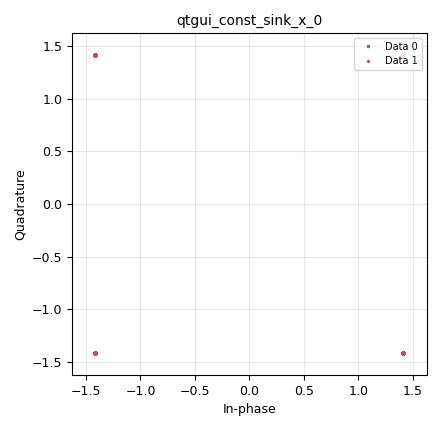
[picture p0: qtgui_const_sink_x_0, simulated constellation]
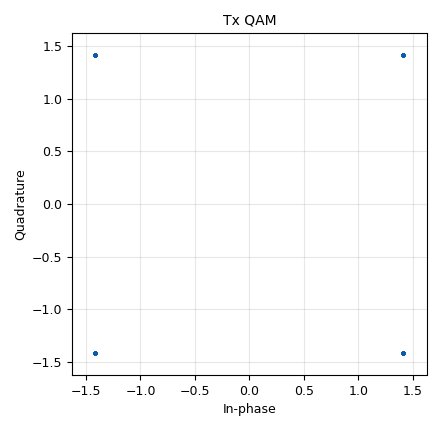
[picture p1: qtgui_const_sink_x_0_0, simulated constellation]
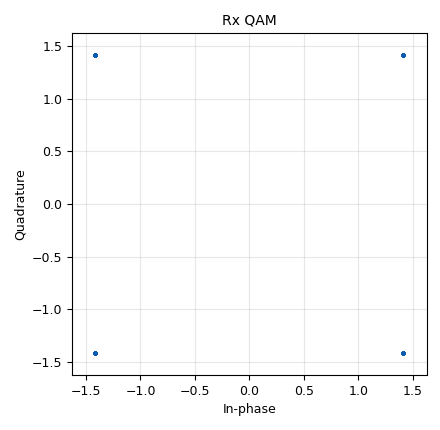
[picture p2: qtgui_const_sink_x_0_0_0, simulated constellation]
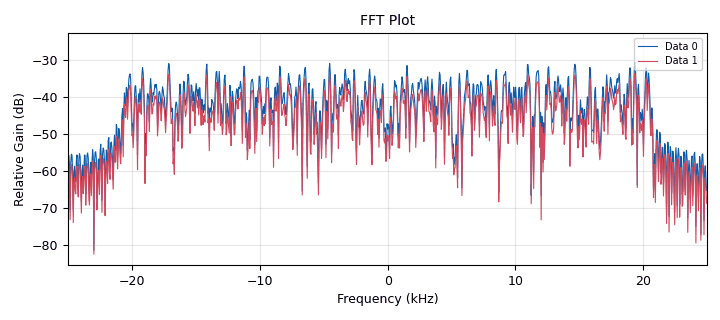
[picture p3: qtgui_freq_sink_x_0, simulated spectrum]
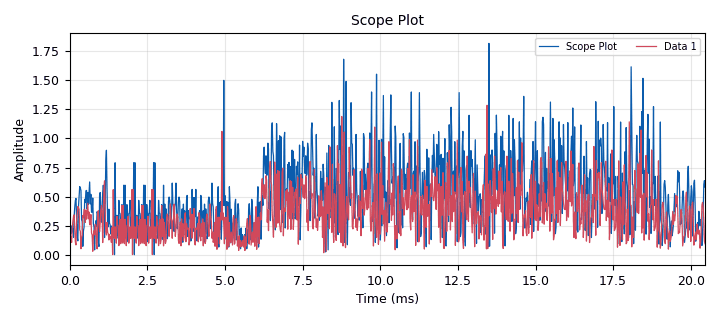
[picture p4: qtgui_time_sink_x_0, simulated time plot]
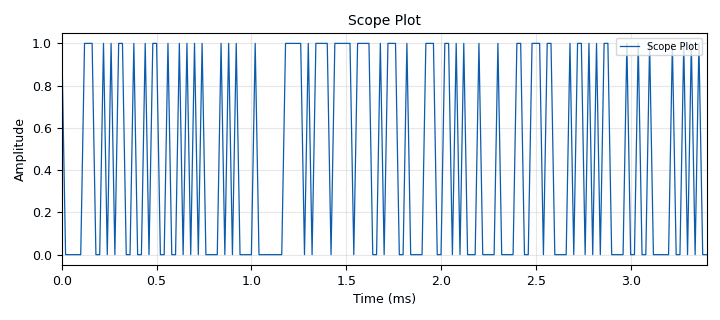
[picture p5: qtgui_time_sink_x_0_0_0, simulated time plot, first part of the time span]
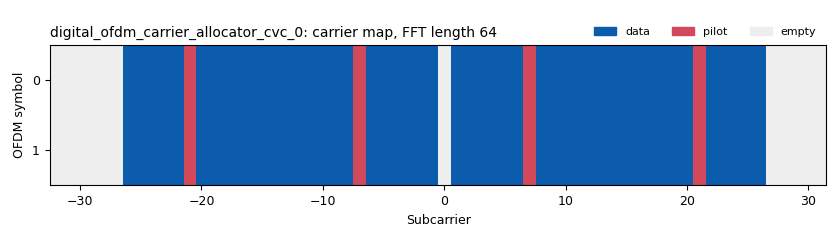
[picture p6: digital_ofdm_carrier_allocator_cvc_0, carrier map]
options:
  parameters:
    category: Custom
    description: Example of an OFDM Transmitter
    generate_options: qt_gui
    id: tx_ofdm
    output_language: python
    run_options: run
    title: OFDM Tx
  states: {}

blocks:
- name: fft_len
  id: variable
  parameters:
    value: '64'
  states: {}
- name: header_equalizer
  id: variable
  parameters:
    value: digital.ofdm_equalizer_simpledfe(fft_len, header_mod.base(), occupied_carriers, pilot_carriers, pilot_symbols)
  states: {}
- name: header_formatter
  id: variable
  parameters:
    value: digital.packet_header_ofdm(occupied_carriers, n_syms=1, len_tag_key=length_tag_key, frame_len_tag_key=length_tag_key, bits_per_header_sym=header_mod.bits_per_symbol(), bits_per_payload_sym=payload_mod.bits_per_symbol(), scramble_header=False)
  states: {}
- name: header_mod
  id: variable
  parameters:
    value: digital.constellation_bpsk()
  states: {}
- name: length_tag_key
  id: variable
  parameters:
    value: '"packet_len"'
  states: {}
- name: occupied_carriers
  id: variable
  parameters:
    value: (list(range(-26, -21)) + list(range(-20, -7)) + list(range(-6, 0)) + list(range(1, 7)) + list(range(8, 21)) + list(range(22, 27)),)
  states: {}
- name: packet_len
  id: variable
  parameters:
    value: '96'
  states: {}
- name: payload_equalizer
  id: variable
  parameters:
    value: digital.ofdm_equalizer_simpledfe(fft_len, payload_mod.base(), occupied_carriers, pilot_carriers, pilot_symbols, 1)
  states: {}
- name: payload_mod
  id: variable
  parameters:
    value: digital.constellation_qpsk()
  states: {}
- name: pilot_carriers
  id: variable
  parameters:
    value: ((-21, -7, 7, 21,),)
  states: {}
- name: pilot_symbols
  id: variable
  parameters:
    value: ((1, 1, 1, -1,),)
  states: {}
- name: rolloff
  id: variable
  parameters:
    value: '0'
  states: {}
- name: samp_rate
  id: variable
  parameters:
    value: '50000'
  states: {}
- name: sync_word1
  id: variable
  parameters:
    value: '[0., 0., 0., 0., 0., 0., 0., 1.41421356, 0., -1.41421356, 0., 1.41421356, 0., -1.41421356, 0., -1.41421356, 0., -1.41421356, 0., 1.41421356, 0., -1.41421356, 0., 1.41421356, 0., -1.41421356, 0., -1.41421356, 0., -1.41421356, 0., -1.41421356, 0., 1.41421356, 0., -1.41421356, 0., 1.41421356, 0., 1.41421356, 0., 1.41421356, 0., -1.41421356, 0., 1.41421356, 0., 1.41421356, 0., 1.41421356, 0., -1.41421356, 0., 1.41421356, 0., 1.41421356, 0., 1.41421356, 0., 0., 0., 0., 0., 0.]'
  states: {}
- name: sync_word2
  id: variable
  parameters:
    value: '[0, 0, 0, 0, 0, 0, -1, -1, -1, -1, 1, 1, -1, -1, -1, 1, -1, 1, 1, 1, 1, 1, -1, -1, -1, -1, -1, 1, -1, -1, 1, -1, 0, 1, -1, 1, 1, 1, -1, 1, 1, 1, -1, 1, 1, 1, 1, -1, 1, -1, -1, -1, 1, -1, 1, -1, -1, -1, -1, 0, 0, 0, 0, 0] '
  states: {}
- name: analog_frequency_modulator_fc_0
  id: analog_frequency_modulator_fc
  parameters:
    sensitivity: '-2.0/fft_len'
  states: {}
- name: analog_random_source_x_0
  id: analog_random_source_x
  parameters:
    max: '256'
    min: '0'
    num_samps: '1000'
    repeat: 'False'
    type: byte
  states: {}
- name: blocks_char_to_float_0
  id: blocks_char_to_float
  parameters:
    scale: '1'
  states: {}
- name: blocks_char_to_float_0_0
  id: blocks_char_to_float
  parameters:
    scale: '1'
  states: {}
- name: blocks_char_to_float_0_0_0
  id: blocks_char_to_float
  parameters:
    scale: '1'
  states: {state: disabled}
- name: blocks_complex_to_mag_0
  id: blocks_complex_to_mag
  parameters: {}
  states: {}
- name: blocks_complex_to_mag_0_0
  id: blocks_complex_to_mag
  parameters: {}
  states: {}
- name: blocks_delay_0
  id: blocks_delay
  parameters:
    delay: fft_len+fft_len//4
    type: complex
  states: {}
- name: blocks_delay_1
  id: blocks_delay
  parameters:
    delay: '25'
    type: float
  states: {state: disabled}
- name: blocks_multiply_const_vxx_0
  id: blocks_multiply_const_vxx
  parameters:
    const: '0.05'
    type: complex
  states: {}
- name: blocks_multiply_const_vxx_0_0
  id: blocks_multiply_const_vxx
  parameters:
    const: '0.5'
    type: complex
  states: {}
- name: blocks_multiply_xx_0
  id: blocks_multiply_xx
  parameters:
    type: complex
  states: {}
- name: blocks_repack_bits_bb_0
  id: blocks_repack_bits_bb
  parameters:
    endianness: gr.GR_LSB_FIRST
    k: '8'
    l: payload_mod.bits_per_symbol()
    len_tag_key: length_tag_key
  states: {}
- name: blocks_repack_bits_bb_0_0
  id: blocks_repack_bits_bb
  parameters:
    align_output: 'True'
    endianness: gr.GR_LSB_FIRST
    k: payload_mod.bits_per_symbol()
    l: '8'
    len_tag_key: packet_length_tag_key
  states: {}
- name: blocks_stream_to_tagged_stream_0
  id: blocks_stream_to_tagged_stream
  parameters:
    len_tag_key: length_tag_key
    packet_len: packet_len
    type: byte
  states: {}
- name: blocks_tag_debug_1
  id: blocks_tag_debug
  parameters:
    name: Rx Bytes
    type: byte
  states: {}
- name: blocks_tag_gate_0
  id: blocks_tag_gate
  parameters:
    propagate_tags: 'False'
    type: complex
  states: {}
- name: blocks_tagged_stream_mux_0
  id: blocks_tagged_stream_mux
  parameters:
    lengthtagname: length_tag_key
    ninputs: '2'
    type: complex
  states: {}
- name: blocks_throttle_0
  id: blocks_throttle
  parameters:
    samples_per_second: samp_rate
    type: complex
  states: {}
- name: blocks_throttle_0_0
  id: blocks_throttle
  parameters:
    samples_per_second: samp_rate
    type: complex
  states: {}
- name: blocks_throttle_0_1
  id: blocks_throttle
  parameters:
    samples_per_second: samp_rate
    type: complex
  states: {}
- name: blocks_unpack_k_bits_bb_0
  id: blocks_unpack_k_bits_bb
  parameters:
    k: '8'
  states: {}
- name: blocks_unpack_k_bits_bb_0_0
  id: blocks_unpack_k_bits_bb
  parameters:
    k: '8'
  states: {}
- name: blocks_unpack_k_bits_bb_0_1
  id: blocks_unpack_k_bits_bb
  parameters:
    k: '8'
  states: {state: disabled}
- name: channels_channel_model_0
  id: channels_channel_model
  parameters:
    block_tags: 'True'
    epsilon: '1.0'
    freq_offset: '0.0'
    noise_voltage: '0.0'
    seed: '0'
    taps: 1.0 + 1.0j
  states: {}
- name: digital_chunks_to_symbols_xx_0
  id: digital_chunks_to_symbols_xx
  parameters:
    dimension: '1'
    in_type: byte
    out_type: complex
    symbol_table: header_mod.points()
  states: {}
- name: digital_chunks_to_symbols_xx_0_0
  id: digital_chunks_to_symbols_xx
  parameters:
    dimension: '1'
    in_type: byte
    out_type: complex
    symbol_table: payload_mod.points()
  states: {}
- name: digital_constellation_decoder_cb_0
  id: digital_constellation_decoder_cb
  parameters:
    constellation: header_mod.base()
  states: {}
- name: digital_constellation_decoder_cb_1
  id: digital_constellation_decoder_cb
  parameters:
    constellation: payload_mod.base()
  states: {}
- name: digital_crc32_bb_0
  id: digital_crc32_bb
  parameters:
    check: 'False'
    lengthtagname: length_tag_key
    packed: 'True'
  states: {}
- name: digital_crc32_bb_0_0
  id: digital_crc32_bb
  parameters:
    check: 'True'
    lengthtagname: packet_length_tag_key
    packed: 'True'
  states: {}
- name: digital_header_payload_demux_0
  id: digital_header_payload_demux
  parameters:
    guard_interval: fft_len//4
    header_len: '3'
    header_padding: '0'
    items_per_symbol: fft_len
    length_tag_key: length_tag_key
    output_symbols: 'True'
    samp_rate: samp_rate
    special_tags: ()
    timing_tag_key: '"rx_time"'
    type: complex
  states: {}
- name: digital_ofdm_carrier_allocator_cvc_0
  id: digital_ofdm_carrier_allocator_cvc
  parameters:
    fft_len: fft_len
    len_tag_key: length_tag_key
    occupied_carriers: occupied_carriers
    output_is_shifted: 'True'
    pilot_carriers: pilot_carriers
    pilot_symbols: pilot_symbols
    sync_words: (sync_word1, sync_word2)
  states: {}
- name: digital_ofdm_chanest_vcvc_0
  id: digital_ofdm_chanest_vcvc
  parameters:
    force_one_symbol: 'False'
    max_carr_offset: '3'
    n_data_symbols: '1'
    sync_symbol1: sync_word1
    sync_symbol2: sync_word2
  states: {}
- name: digital_ofdm_cyclic_prefixer_0
  id: digital_ofdm_cyclic_prefixer
  parameters:
    cp_len: fft_len//4
    input_size: fft_len
    rolloff: rolloff
    tagname: length_tag_key
  states: {}
- name: digital_ofdm_frame_equalizer_vcvc_0
  id: digital_ofdm_frame_equalizer_vcvc
  parameters:
    cp_len: fft_len//4
    equalizer: header_equalizer.base()
    fft_len: fft_len
    fixed_frame_len: '1'
    len_tag_key: length_tag_key
    propagate_channel_state: 'True'
  states: {}
- name: digital_ofdm_frame_equalizer_vcvc_1
  id: digital_ofdm_frame_equalizer_vcvc
  parameters:
    cp_len: fft_len//4
    equalizer: payload_equalizer.base()
    fft_len: fft_len
    len_tag_key: length_tag_key
    propagate_channel_state: 'True'
  states: {}
- name: digital_ofdm_serializer_vcc_header
  id: digital_ofdm_serializer_vcc
  parameters:
    carr_offset_key: ''
    fft_len: fft_len
    len_tag_key: length_tag_key
    occupied_carriers: occupied_carriers
    packet_len_tag_key: ''
  states: {}
- name: digital_ofdm_serializer_vcc_payload
  id: digital_ofdm_serializer_vcc
  parameters:
    carr_offset_key: ''
    fft_len: fft_len
    len_tag_key: length_tag_key
    occupied_carriers: occupied_carriers
    packet_len_tag_key: packet_length_tag_key
    symbols_skipped: '1'
  states: {}
- name: digital_ofdm_sync_sc_cfb_0
  id: digital_ofdm_sync_sc_cfb
  parameters:
    cp_len: fft_len//4
    fft_len: fft_len
    threshold: '0.9'
  states: {}
- name: digital_packet_headergenerator_bb_0
  id: digital_packet_headergenerator_bb
  parameters:
    header_formatter: header_formatter.base()
    len_tag_key: length_tag_key
  states: {}
- name: digital_packet_headerparser_b_0
  id: digital_packet_headerparser_b
  parameters:
    header_formatter: header_formatter.base()
  states: {}
- name: fec_ber_bf_0
  id: fec_ber_bf
  parameters:
    test_mode: 'False'
  states: {state: disabled}
- name: fft_vxx_0
  id: fft_vxx
  parameters:
    fft_size: fft_len
    forward: 'False'
    shift: 'True'
    type: complex
    window: ()
  states: {}
- name: fft_vxx_0_0
  id: fft_vxx
  parameters:
    fft_size: fft_len
    forward: 'True'
    shift: 'True'
    type: complex
    window: ()
  states: {}
- name: fft_vxx_1
  id: fft_vxx
  parameters:
    fft_size: fft_len
    forward: 'True'
    shift: 'True'
    type: complex
    window: ()
  states: {}
- name: header_bits
  id: virtual_sink
  parameters:
    stream_id: Header Bits
  states: {}
- name: qtgui_const_sink_x_0
  id: qtgui_const_sink_x
  parameters:
    autoscale: 'True'
    color1: '"red"'
    color2: '"blue"'
    marker2: '3'
    nconnections: '2'
    size: '1024'
    type: complex
  states: {}
- name: qtgui_const_sink_x_0_0
  id: qtgui_const_sink_x
  parameters:
    autoscale: 'True'
    color1: '"green"'
    name: '"Tx QAM"'
    size: '1024'
    type: complex
  states: {}
- name: qtgui_const_sink_x_0_0_0
  id: qtgui_const_sink_x
  parameters:
    autoscale: 'True'
    color1: '"magenta"'
    name: '"Rx QAM"'
    size: '1024'
    type: complex
  states: {}
- name: qtgui_freq_sink_x_0
  id: qtgui_freq_sink_x
  parameters:
    autoscale: 'True'
    bw: samp_rate
    fc: '0'
    fftsize: '1024'
    label2: ''
    name: FFT Plot
    nconnections: '2'
    showports: 'True'
    type: complex
  states: {}
- name: qtgui_time_sink_x_0
  id: qtgui_time_sink_x
  parameters:
    autoscale: 'True'
    label1: Scope Plot
    label2: ''
    name: Scope Plot
    nconnections: '2'
    size: '1024'
    srate: samp_rate
    type: float
  states: {}
- name: qtgui_time_sink_x_0_0
  id: qtgui_time_sink_x
  parameters:
    autoscale: 'True'
    label1: Scope Plot
    name: Scope Plot
    size: '1024'
    srate: samp_rate
    type: float
  states: {state: disabled}
- name: qtgui_time_sink_x_0_0_0
  id: qtgui_time_sink_x
  parameters:
    autoscale: 'True'
    label1: Scope Plot
    name: Scope Plot
    size: '1024'
    srate: samp_rate
    type: float
  states: {}
- name: qtgui_time_sink_x_0_0_0_0
  id: qtgui_time_sink_x
  parameters:
    autoscale: 'True'
    label1: Scope Plot
    name: Scope Plot
    size: '1024'
    srate: samp_rate
    type: float
  states: {}
- name: virtual_sink_0
  id: virtual_sink
  parameters:
    stream_id: Time Domain
  states: {}
- name: virtual_sink_0_0
  id: virtual_sink
  parameters:
    stream_id: Payload Bits
  states: {}
- name: virtual_sink_0_0_0
  id: virtual_sink
  parameters:
    stream_id: Pre-OFDM
  states: {}
- name: virtual_sink_0_0_0_0
  id: virtual_sink
  parameters:
    stream_id: Bin_in
  states: {state: disabled}
- name: virtual_sink_0_1
  id: virtual_sink
  parameters:
    stream_id: Header Stream
  states: {}
- name: virtual_sink_0_2
  id: virtual_sink
  parameters:
    stream_id: TR_QAM
  states: {}
- name: virtual_sink_0_2_0_0
  id: virtual_sink
  parameters:
    stream_id: Bin_out
  states: {}
- name: virtual_sink_0_2_0_0_0
  id: virtual_sink
  parameters:
    stream_id: Bin_in
  states: {}
- name: virtual_sink_0_3
  id: virtual_sink
  parameters:
    stream_id: Rx_Signal
  states: {}
- name: virtual_sink_1
  id: virtual_sink
  parameters:
    stream_id: Tx Signal
  states: {}
- name: virtual_sink_1_0
  id: virtual_sink
  parameters:
    stream_id: Payload IQ
  states: {}
- name: virtual_sink_1_0_0
  id: virtual_sink
  parameters:
    stream_id: RC_QAM
  states: {}
- name: virtual_sink_1_1
  id: virtual_sink
  parameters:
    stream_id: Payload Stream
  states: {}
- name: virtual_source_0
  id: virtual_source
  parameters:
    stream_id: Header Bits
  states: {}
- name: virtual_source_0_0
  id: virtual_source
  parameters:
    stream_id: Payload Bits
  states: {}
- name: virtual_source_0_0_0
  id: virtual_source
  parameters:
    stream_id: Pre-OFDM
  states: {}
- name: virtual_source_0_0_0_0
  id: virtual_source
  parameters:
    stream_id: Time Domain
  states: {}
- name: virtual_source_0_0_0_0_0
  id: virtual_source
  parameters:
    stream_id: TR_QAM
  states: {}
- name: virtual_source_0_0_0_0_0_0
  id: virtual_source
  parameters:
    stream_id: RC_QAM
  states: {}
- name: virtual_source_0_0_0_0_1
  id: virtual_source
  parameters:
    stream_id: Rx_Signal
  states: {}
- name: virtual_source_0_0_1
  id: virtual_source
  parameters:
    stream_id: Payload IQ
  states: {}
- name: virtual_source_0_0_1_0
  id: virtual_source
  parameters:
    stream_id: Bin_in
  states: {}
- name: virtual_source_0_0_1_0_0
  id: virtual_source
  parameters:
    stream_id: Bin_out
  states: {}
- name: virtual_source_0_1
  id: virtual_source
  parameters:
    stream_id: Header Stream
  states: {}
- name: virtual_source_1
  id: virtual_source
  parameters:
    stream_id: Tx Signal
  states: {}
- name: virtual_source_1_0
  id: virtual_source
  parameters:
    stream_id: Payload Stream
  states: {}

connections:
- [analog_frequency_modulator_fc_0, '0', blocks_multiply_xx_0, '1']
- [analog_random_source_x_0, '0', blocks_stream_to_tagged_stream_0, '0']
- [analog_random_source_x_0, '0', blocks_unpack_k_bits_bb_0_1, '0']
- [blocks_char_to_float_0, '0', blocks_delay_1, '0']
- [blocks_char_to_float_0, '0', virtual_sink_0_2_0_0_0, '0']
- [blocks_char_to_float_0_0, '0', virtual_sink_0_2_0_0, '0']
- [blocks_char_to_float_0_0_0, '0', virtual_sink_0_0_0_0, '0']
- [blocks_complex_to_mag_0, '0', qtgui_time_sink_x_0, '1']
- [blocks_complex_to_mag_0_0, '0', qtgui_time_sink_x_0, '0']
- [blocks_delay_0, '0', blocks_multiply_xx_0, '0']
- [blocks_delay_1, '0', virtual_sink_0_2_0_0_0, '0']
- [blocks_multiply_const_vxx_0, '0', blocks_tag_gate_0, '0']
- [blocks_multiply_const_vxx_0_0, '0', blocks_throttle_0_0, '0']
- [blocks_multiply_xx_0, '0', digital_header_payload_demux_0, '0']
- [blocks_repack_bits_bb_0, '0', virtual_sink_0_0, '0']
- [blocks_repack_bits_bb_0_0, '0', blocks_unpack_k_bits_bb_0_0, '0']
- [blocks_repack_bits_bb_0_0, '0', digital_crc32_bb_0_0, '0']
- [blocks_stream_to_tagged_stream_0, '0', digital_crc32_bb_0, '0']
- [blocks_tag_gate_0, '0', blocks_throttle_0, '0']
- [blocks_tagged_stream_mux_0, '0', virtual_sink_0_0_0, '0']
- [blocks_throttle_0, '0', blocks_complex_to_mag_0_0, '0']
- [blocks_throttle_0, '0', qtgui_freq_sink_x_0, '0']
- [blocks_throttle_0, '0', virtual_sink_1, '0']
- [blocks_throttle_0_0, '0', blocks_complex_to_mag_0, '0']
- [blocks_throttle_0_0, '0', qtgui_freq_sink_x_0, '1']
- [blocks_throttle_0_1, '0', blocks_delay_0, '0']
- [blocks_throttle_0_1, '0', digital_ofdm_sync_sc_cfb_0, '0']
- [blocks_unpack_k_bits_bb_0, '0', blocks_char_to_float_0, '0']
- [blocks_unpack_k_bits_bb_0_0, '0', blocks_char_to_float_0_0, '0']
- [blocks_unpack_k_bits_bb_0_1, '0', blocks_char_to_float_0_0_0, '0']
- [channels_channel_model_0, '0', blocks_throttle_0_1, '0']
- [channels_channel_model_0, '0', virtual_sink_0_3, '0']
- [digital_chunks_to_symbols_xx_0, '0', blocks_tagged_stream_mux_0, '0']
- [digital_chunks_to_symbols_xx_0_0, '0', blocks_tagged_stream_mux_0, '1']
- [digital_chunks_to_symbols_xx_0_0, '0', virtual_sink_0_2, '0']
- [digital_constellation_decoder_cb_0, '0', digital_packet_headerparser_b_0, '0']
- [digital_constellation_decoder_cb_1, '0', blocks_repack_bits_bb_0_0, '0']
- [digital_crc32_bb_0, '0', blocks_repack_bits_bb_0, '0']
- [digital_crc32_bb_0, '0', blocks_unpack_k_bits_bb_0, '0']
- [digital_crc32_bb_0, '0', digital_packet_headergenerator_bb_0, '0']
- [digital_crc32_bb_0_0, '0', blocks_tag_debug_1, '0']
- [digital_header_payload_demux_0, '0', virtual_sink_0_1, '0']
- [digital_header_payload_demux_0, '1', virtual_sink_1_1, '0']
- [digital_ofdm_carrier_allocator_cvc_0, '0', fft_vxx_0, '0']
- [digital_ofdm_chanest_vcvc_0, '0', digital_ofdm_frame_equalizer_vcvc_0, '0']
- [digital_ofdm_cyclic_prefixer_0, '0', virtual_sink_0, '0']
- [digital_ofdm_frame_equalizer_vcvc_0, '0', digital_ofdm_serializer_vcc_header, '0']
- [digital_ofdm_frame_equalizer_vcvc_1, '0', digital_ofdm_serializer_vcc_payload, '0']
- [digital_ofdm_serializer_vcc_header, '0', digital_constellation_decoder_cb_0, '0']
- [digital_ofdm_serializer_vcc_payload, '0', virtual_sink_1_0, '0']
- [digital_ofdm_serializer_vcc_payload, '0', virtual_sink_1_0_0, '0']
- [digital_ofdm_sync_sc_cfb_0, '0', analog_frequency_modulator_fc_0, '0']
- [digital_ofdm_sync_sc_cfb_0, '1', digital_header_payload_demux_0, '1']
- [digital_packet_headergenerator_bb_0, '0', header_bits, '0']
- [digital_packet_headerparser_b_0, header_data, digital_header_payload_demux_0, header_data]
- [fec_ber_bf_0, '0', qtgui_time_sink_x_0_0, '0']
- [fft_vxx_0, '0', digital_ofdm_cyclic_prefixer_0, '0']
- [fft_vxx_0_0, '0', digital_ofdm_chanest_vcvc_0, '0']
- [fft_vxx_1, '0', digital_ofdm_frame_equalizer_vcvc_1, '0']
- [virtual_source_0, '0', digital_chunks_to_symbols_xx_0, '0']
- [virtual_source_0_0, '0', digital_chunks_to_symbols_xx_0_0, '0']
- [virtual_source_0_0_0, '0', digital_ofdm_carrier_allocator_cvc_0, '0']
- [virtual_source_0_0_0_0, '0', blocks_multiply_const_vxx_0, '0']
- [virtual_source_0_0_0_0_0, '0', qtgui_const_sink_x_0, '0']
- [virtual_source_0_0_0_0_0, '0', qtgui_const_sink_x_0_0, '0']
- [virtual_source_0_0_0_0_0_0, '0', qtgui_const_sink_x_0, '1']
- [virtual_source_0_0_0_0_0_0, '0', qtgui_const_sink_x_0_0_0, '0']
- [virtual_source_0_0_0_0_1, '0', blocks_multiply_const_vxx_0_0, '0']
- [virtual_source_0_0_1, '0', digital_constellation_decoder_cb_1, '0']
- [virtual_source_0_0_1_0, '0', fec_ber_bf_0, '0']
- [virtual_source_0_0_1_0, '0', qtgui_time_sink_x_0_0_0, '0']
- [virtual_source_0_0_1_0_0, '0', fec_ber_bf_0, '1']
- [virtual_source_0_0_1_0_0, '0', qtgui_time_sink_x_0_0_0_0, '0']
- [virtual_source_0_1, '0', fft_vxx_0_0, '0']
- [virtual_source_1, '0', channels_channel_model_0, '0']
- [virtual_source_1_0, '0', fft_vxx_1, '0']

metadata:
  file_format: 1
  grc_version: 3.10.4.0
